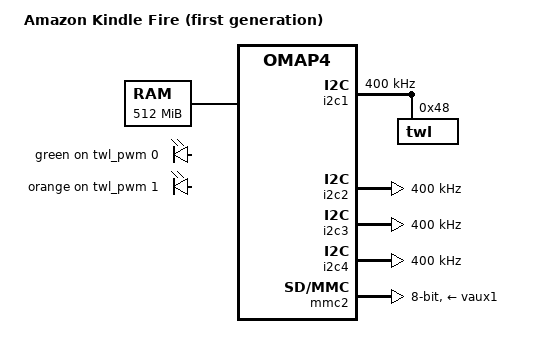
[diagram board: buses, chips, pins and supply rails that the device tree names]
// SPDX-License-Identifier: GPL-2.0-only
/*
 * Copyright (C) 2016 Paul Kocialkowski <contact@paulk.fr>
 */
/dts-v1/;

#include "omap443x.dtsi"

/ {
	model = "Amazon Kindle Fire (first generation)";
	compatible = "amazon,omap4-kc1", "ti,omap4430", "ti,omap4";

	memory@80000000 {
		device_type = "memory";
		reg = <0x80000000 0x20000000>; /* 512 MB */
	};

	led-controller {
		compatible = "pwm-leds";

		led-1 {
			label = "green";
			pwms = <&twl_pwm 0 7812500>;
			max-brightness = <127>;
		};

		led-2 {
			label = "orange";
			pwms = <&twl_pwm 1 7812500>;
			max-brightness = <127>;
		};
	};
};

&omap4_pmx_core {
	pinctrl-names = "default";

	uart3_pins: uart3-pins {
		pinctrl-single,pins = <
			OMAP4_IOPAD(0x144, PIN_INPUT | MUX_MODE0)		/* uart3_rx_irrx */
			OMAP4_IOPAD(0x146, PIN_OUTPUT | MUX_MODE0)		/* uart3_tx_irtx */
		>;
	};

	i2c1_pins: i2c1-pins {
		pinctrl-single,pins = <
			OMAP4_IOPAD(0x122, PIN_INPUT_PULLUP | MUX_MODE0)	/* i2c1_scl */
			OMAP4_IOPAD(0x124, PIN_INPUT_PULLUP | MUX_MODE0)	/* i2c1_sda */
		>;
	};

	i2c2_pins: i2c2-pins {
		pinctrl-single,pins = <
			OMAP4_IOPAD(0x126, PIN_INPUT_PULLUP | MUX_MODE0)	/* i2c2_scl */
			OMAP4_IOPAD(0x128, PIN_INPUT_PULLUP | MUX_MODE0)	/* i2c2_sda */
		>;
	};

	i2c3_pins: i2c3-pins {
		pinctrl-single,pins = <
			OMAP4_IOPAD(0x12a, PIN_INPUT_PULLUP | MUX_MODE0)	/* i2c3_scl */
			OMAP4_IOPAD(0x12c, PIN_INPUT_PULLUP | MUX_MODE0)	/* i2c3_sda */
		>;
	};

	i2c4_pins: i2c4-pins {
		pinctrl-single,pins = <
			OMAP4_IOPAD(0x12e, PIN_INPUT_PULLUP | MUX_MODE0)	/* i2c4_scl */
			OMAP4_IOPAD(0x130, PIN_INPUT_PULLUP | MUX_MODE0)	/* i2c4_sda */
		>;
	};

	mmc2_pins: mmc2-pins {
		pinctrl-single,pins = <
			OMAP4_IOPAD(0x040, PIN_INPUT_PULLUP | MUX_MODE1)	/* sdmmc2_dat0 */
			OMAP4_IOPAD(0x042, PIN_INPUT_PULLUP | MUX_MODE1)	/* sdmmc2_dat1 */
			OMAP4_IOPAD(0x044, PIN_INPUT_PULLUP | MUX_MODE1)	/* sdmmc2_dat2 */
			OMAP4_IOPAD(0x046, PIN_INPUT_PULLUP | MUX_MODE1)	/* sdmmc2_dat3 */
			OMAP4_IOPAD(0x048, PIN_INPUT_PULLUP | MUX_MODE1)	/* sdmmc2_dat4 */
			OMAP4_IOPAD(0x04a, PIN_INPUT_PULLUP | MUX_MODE1)	/* sdmmc2_dat5 */
			OMAP4_IOPAD(0x04c, PIN_INPUT_PULLUP | MUX_MODE1)	/* sdmmc2_dat6 */
			OMAP4_IOPAD(0x04e, PIN_INPUT_PULLUP | MUX_MODE1)	/* sdmmc2_dat7 */
			OMAP4_IOPAD(0x082, PIN_INPUT_PULLUP | MUX_MODE1)	/* sdmmc2_clk */
			OMAP4_IOPAD(0x084, PIN_INPUT_PULLUP | MUX_MODE1)	/* sdmmc2_cmd */
		>;
	};

	usb_otg_hs_pins: usb-otg-hs-pins {
		pinctrl-single,pins = <
			OMAP4_IOPAD(0x194, PIN_OUTPUT_PULLDOWN | MUX_MODE0)	/* usba0_otg_ce */
			OMAP4_IOPAD(0x196, PIN_INPUT | MUX_MODE0)		/* usba0_otg_dp */
			OMAP4_IOPAD(0x198, PIN_INPUT | MUX_MODE0)		/* usba0_otg_dm */
		>;
	};
};

&uart3 {
	pinctrl-names = "default";
	pinctrl-0 = <&uart3_pins>;

	interrupts-extended = <&wakeupgen GIC_SPI 74 IRQ_TYPE_LEVEL_HIGH
			       &omap4_pmx_core OMAP4_UART3_RX>;
};

&i2c1 {
	pinctrl-names = "default";
	pinctrl-0 = <&i2c1_pins>;

	clock-frequency = <400000>;

	twl: twl@48 {
		reg = <0x48>;
		/* IRQ# = 7 */
		interrupts = <GIC_SPI 7 IRQ_TYPE_LEVEL_HIGH>; /* IRQ_SYS_1N cascaded to gic */

		twl_power: power {
			compatible = "ti,twl6030-power";
			ti,system-power-controller;
		};
	};
};

&i2c2 {
	pinctrl-names = "default";
	pinctrl-0 = <&i2c2_pins>;

	clock-frequency = <400000>;
};

&i2c3 {
	pinctrl-names = "default";
	pinctrl-0 = <&i2c3_pins>;

	clock-frequency = <400000>;
};

&i2c4 {
	pinctrl-names = "default";
	pinctrl-0 = <&i2c4_pins>;

	clock-frequency = <400000>;
};

&mmc1 {
	status = "disabled";
};

&mmc2 {
	pinctrl-names = "default";
	pinctrl-0 = <&mmc2_pins>;

	vmmc-supply = <&vaux1>;
	ti,non-removable;
	bus-width = <8>;
};

&mmc3 {
	status = "disabled";
};

&mmc4 {
	status = "disabled";
};

&usb_otg_hs {
	pinctrl-names = "default";
	pinctrl-0 = <&usb_otg_hs_pins>;

	interface-type = <1>;
	mode = <3>;
	power = <50>;
};

#include "twl6030.dtsi"
#include "twl6030_omap4.dtsi"

&twl_usb_comparator {
	usb-supply = <&vusb>;
};
